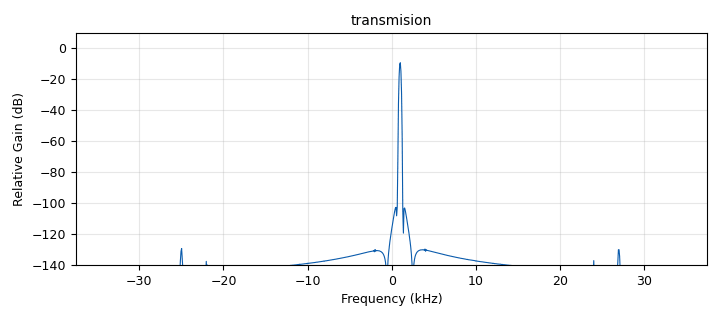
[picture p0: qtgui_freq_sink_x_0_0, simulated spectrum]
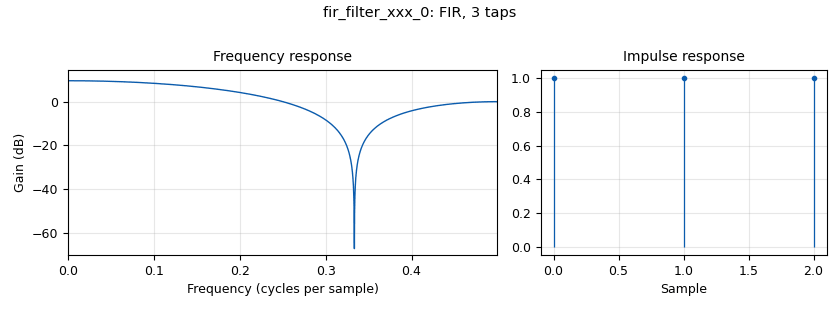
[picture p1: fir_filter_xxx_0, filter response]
options:
  parameters:
    generate_options: qt_gui
    id: pruebapluto
    output_language: python
    title: pluto
  states: {}

blocks:
- name: samp_rate
  id: variable
  parameters:
    value: '750000'
  states: {}
- name: analog_sig_source_x_0
  id: analog_sig_source_x
  parameters:
    amp: '1'
    freq: '1000'
    offset: '0'
    phase: '0'
    samp_rate: samp_rate/10
    type: complex
    waveform: analog.GR_COS_WAVE
  states: {}
- name: fir_filter_xxx_0
  id: fir_filter_xxx
  parameters:
    decim: '10'
    taps: '[1, 1, 1]'
    type: ccc
  states: {}
- name: iio_pluto_sink_0
  id: iio_pluto_sink
  parameters:
    attenuation1: '10.0'
    auto_filter: 'True'
    bandwidth: '20000000'
    buffer_size: '32768'
    cyclic: 'False'
    frequency: '2400000000'
    samplerate: '750000'
    uri: 192.168.2.1
  states: {}
- name: iio_pluto_source_0
  id: iio_pluto_source
  parameters:
    auto_filter: 'True'
    bandwidth: '20000000'
    bbdc: 'True'
    buffer_size: '32768'
    frequency: '91900000'
    gain1: '''manual'''
    manual_gain1: '64'
    quadrature: 'True'
    rfdc: 'True'
    samplerate: '750000'
    uri: 192.168.2.1
  states: {}
- name: interp_fir_filter_xxx_0
  id: interp_fir_filter_xxx
  parameters:
    interp: '10'
    taps: '[1,1,1]'
    type: ccc
  states: {}
- name: qtgui_freq_sink_x_0
  id: qtgui_freq_sink_x
  parameters:
    bw: samp_rate/10
    fc: '0'
    fftsize: '1024'
    name: '"recepcion"'
    type: complex
    wintype: firdes.WIN_BLACKMAN_hARRIS
  states: {}
- name: qtgui_freq_sink_x_0_0
  id: qtgui_freq_sink_x
  parameters:
    bw: samp_rate/10
    fc: '0'
    fftsize: '1024'
    name: '"transmision"'
    type: complex
    wintype: firdes.WIN_BLACKMAN_hARRIS
  states: {}

connections:
- [analog_sig_source_x_0, '0', interp_fir_filter_xxx_0, '0']
- [analog_sig_source_x_0, '0', qtgui_freq_sink_x_0_0, '0']
- [fir_filter_xxx_0, '0', qtgui_freq_sink_x_0, '0']
- [iio_pluto_source_0, '0', fir_filter_xxx_0, '0']
- [interp_fir_filter_xxx_0, '0', iio_pluto_sink_0, '0']

metadata:
  file_format: 1
